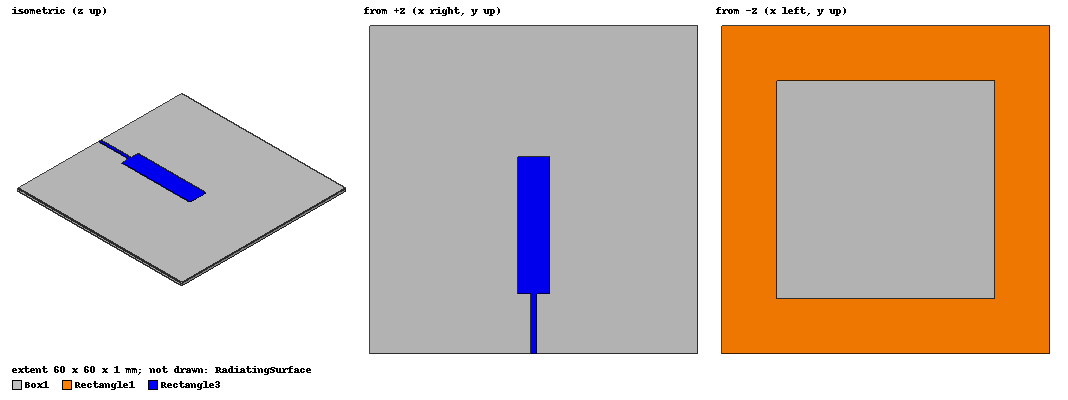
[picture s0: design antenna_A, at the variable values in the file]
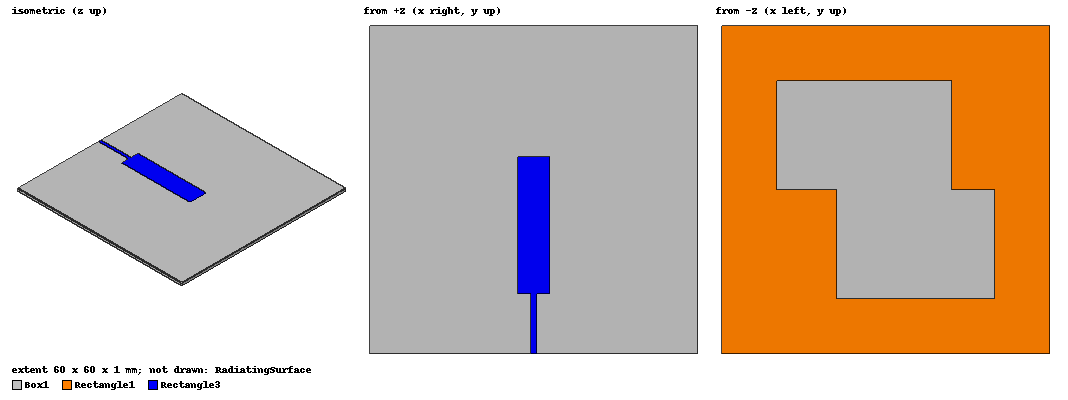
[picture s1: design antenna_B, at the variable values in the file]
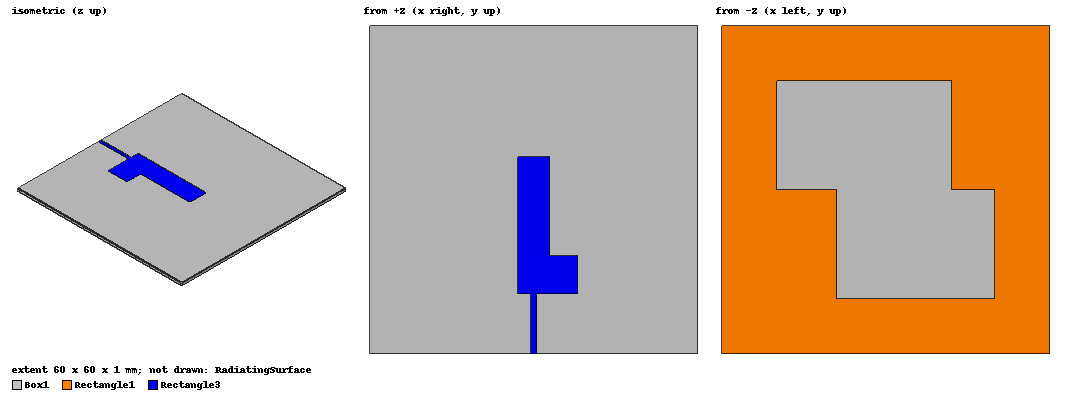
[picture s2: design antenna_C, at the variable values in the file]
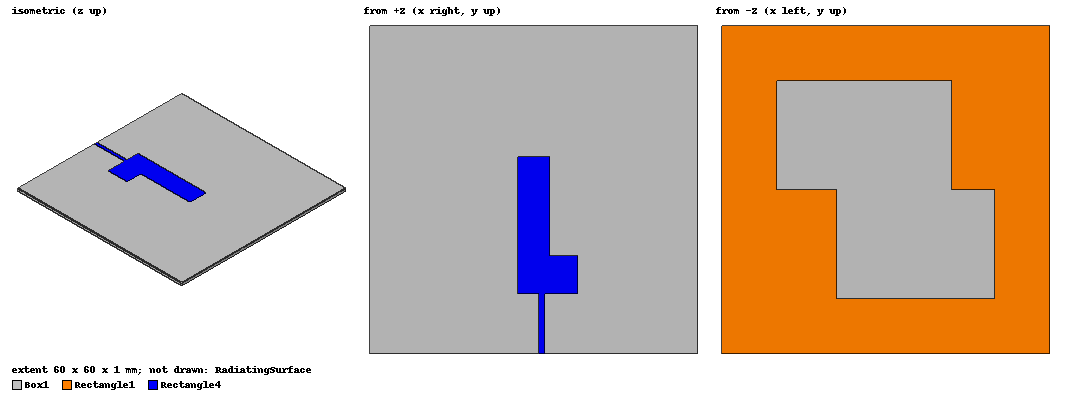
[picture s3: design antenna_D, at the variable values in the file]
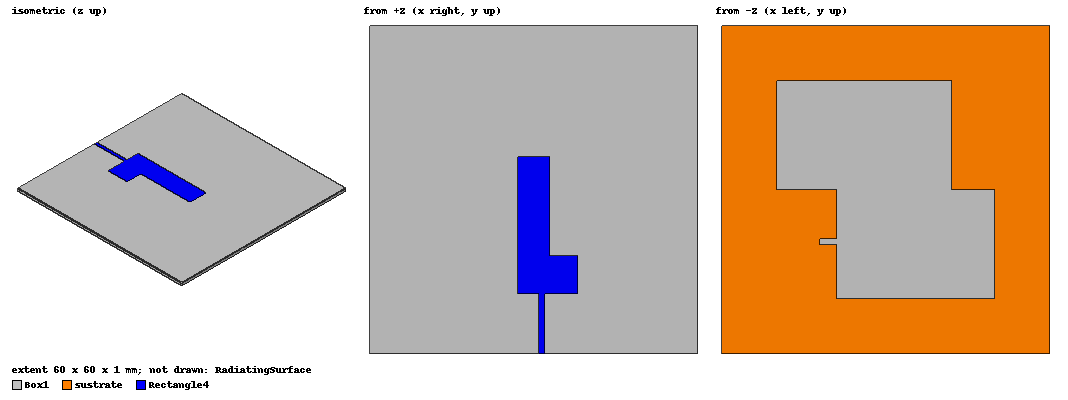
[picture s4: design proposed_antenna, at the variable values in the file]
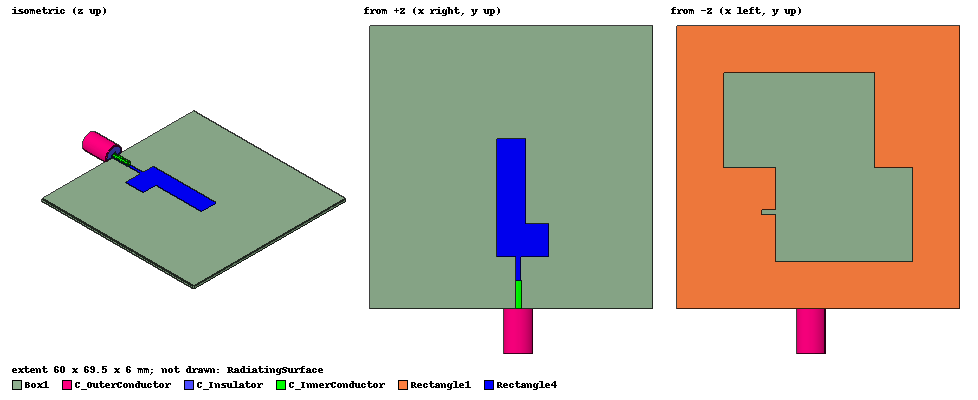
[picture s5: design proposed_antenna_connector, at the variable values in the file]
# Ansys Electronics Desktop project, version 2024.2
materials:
  vacuum: permittivity=1
  FR4_epoxy: permittivity=4.4 dielectric_loss_tangent=0.02
  pec: conductivity=1e+30
  Teflon (tm): permittivity=2.1 dielectric_loss_tangent=0.001
  copper: permeability=0.999991 conductivity=58000000

design antenna_A (HFSS, HFSS Modal Network, model units mm)
options: Calculate_Lossy_Dielectrics
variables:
  lf = -11mm
  lf1 = 11mm
  k1 = 6mm
  l1 = 25mm
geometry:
  Rectangle1 = rectangle(corner=(0mm, 0mm, 0mm), x_size=60mm, y_size=60mm)
  Rectangle2 = rectangle(corner=(10mm, 10mm, 0mm), x_size=40mm, y_size=40mm)
  Rectangle1.subtract(Rectangle2)
  Rectangle3 = rectangle(corner=(27mm, 11mm, 1mm), x_size=k1, y_size=l1)
  Rectangle4 = rectangle(corner=(29.5mm, 11mm, 1mm), x_size=1mm, y_size=-lf1)
  Box1 [FR4_epoxy] = box(corner=(0mm, 0mm, 0mm), size=(60mm, 60mm, 1mm))
  Rectangle3.unite(Rectangle4)
  Rectangle5 = rectangle(corner=(29.5mm, 0mm, 1mm), z_size=-1mm, x_size=1mm)
  RadiatingSurface [vacuum] = region(absolute_offset=37.037037mm on all sides)
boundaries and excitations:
  PerfE1: Perfect E Objects=Rectangle1
  PerfE2: Perfect E Objects=Rectangle3
  Open1: Radiation Objects=RadiatingSurface
  1: Lumped Port Objects=Rectangle5 LumpedPortType=Modal Modes{Mode1{IntLine{(30, 0, 0) -> (30, 0, 1)} CharImp=Zpi RenormImp=50ohm}} Impedance=50ohm
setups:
  Setup1: HfssDriven MultipleAdaptiveFreqsSetup{Low=0.1GHz High=12GHz} MaxDeltaS=0.02 MaximumPasses=6 MinimumPasses=1 MinimumConvergedPasses=1 PercentRefinement=30 BasisOrder=1 PortAccuracy=2 DrivenSolverType="Direct Solver"
    sweep Sweep: 0.1GHz to 12GHz, 201 points; Type=Discrete SaveFields
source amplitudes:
  1:1: 1W 0deg
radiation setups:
  3D: Infinite Sphere Theta=0deg..180deg step 2deg Phi=-180deg..180deg step 2deg
  Elevation: Infinite Sphere Theta=-180deg..180deg step 1deg Phi=0deg..90deg step 90deg
  Azimuth: Infinite Sphere Theta=90deg..90deg step 0deg Phi=-180deg..180deg step 1deg
  Infinite Sphere1: Infinite Sphere Theta=-180deg..180deg step 2deg Phi=0deg..90deg step 90deg
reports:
  S Parameter Plot 1: dB(S(1,1)) vs Freq on Setup1 : Sweep
  Axial Ratio Plot 2: dB(AxialRatioValue) vs Freq on Setup1 : Sweep, Infinite Sphere1 [Phi=90deg Theta=0deg]

design antenna_B (HFSS, HFSS Modal Network, model units mm)
options: Calculate_Lossy_Dielectrics
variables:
  s1 = 8mm
  s2 = 20mm
  k1 = 6mm
  l1 = 25mm
  lf1 = 11mm
  s3 = 11mm
  s4 = 20mm
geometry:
  Rectangle1 = rectangle(corner=(0mm, 0mm, 0mm), x_size=60mm, y_size=60mm)
  Rectangle2 = rectangle(corner=(10mm, 10mm, 0mm), x_size=40mm, y_size=40mm)
  Rectangle1.subtract(Rectangle2)
  Rectangle3 = rectangle(corner=(27mm, 11mm, 1mm), x_size=k1, y_size=l1)
  Rectangle4 = rectangle(corner=(29.5mm, 11mm, 1mm), x_size=1mm, y_size=-lf1)
  Box1 [FR4_epoxy] = box(corner=(0mm, 0mm, 0mm), size=(60mm, 60mm, 1mm))
  Rectangle3.unite(Rectangle4)
  Rectangle5 = rectangle(corner=(29.5mm, 0mm, 1mm), z_size=-1mm, x_size=1mm)
  Rectangle6 = rectangle(corner=(10mm, 50mm, 0mm), x_size=s1, y_size=-s2)
  Rectangle7 = rectangle(corner=(50mm, 10mm, 0mm), x_size=-s3, y_size=s4)
  Rectangle1.unite(Rectangle6, Rectangle7)
  RadiatingSurface [vacuum] = region(absolute_offset=37.037037mm on all sides)
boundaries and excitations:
  PerfE1: Perfect E Objects=Rectangle1
  PerfE2: Perfect E Objects=Rectangle3
  Open1: Radiation Objects=RadiatingSurface
  1: Lumped Port Objects=Rectangle5 LumpedPortType=Modal Modes{Mode1{IntLine{(30, 0, 0) -> (30, 0, 1)} CharImp=Zpi RenormImp=50ohm}} Impedance=50ohm
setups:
  Setup1: HfssDriven MultipleAdaptiveFreqsSetup{Low=0.1GHz High=12GHz} MaxDeltaS=0.02 MaximumPasses=6 MinimumPasses=1 MinimumConvergedPasses=1 PercentRefinement=30 BasisOrder=1 PortAccuracy=2 DrivenSolverType="Direct Solver"
    sweep Sweep: 0.1GHz to 12GHz, 151 points; Type=Discrete SaveFields
  Setup2: HfssDriven MultipleAdaptiveFreqsSetup{Low=0.1GHz High=12GHz} MaxDeltaS=0.02 MaximumPasses=6 MinimumPasses=1 MinimumConvergedPasses=1 PercentRefinement=30 BasisOrder=1 PortAccuracy=2 DrivenSolverType="Direct Solver"
    sweep Sweep: 0.1GHz to 12GHz, 201 points; Type=Discrete SaveFields
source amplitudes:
  1:1: 1W 0deg
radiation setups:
  3D: Infinite Sphere Theta=0deg..180deg step 2deg Phi=-180deg..180deg step 2deg
  Elevation: Infinite Sphere Theta=-180deg..180deg step 1deg Phi=0deg..90deg step 90deg
  Azimuth: Infinite Sphere Theta=90deg..90deg step 0deg Phi=-180deg..180deg step 1deg
  Infinite Sphere1: Infinite Sphere Theta=-180deg..180deg step 2deg Phi=0deg..90deg step 90deg
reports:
  S Parameter Plot 1: dB(S(1,1)) vs Freq on Setup1 : Sweep
  S Parameter Plot 2: dB(S(1,1)) vs Freq on Setup2 : Sweep
  Axial Ratio Plot 1: dB(AxialRatioValue) vs Freq on Setup2 : Sweep, Infinite Sphere1 [Phi=0deg Theta=0deg]

design antenna_C (HFSS, HFSS Modal Network, model units mm)
options: Calculate_Lossy_Dielectrics
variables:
  s1 = 8mm
  s2 = 20mm
  s3 = 11mm
  s4 = 20mm
  k1 = 6mm
  l1 = 25mm
  k2 = 7.5mm
  l2 = 7mm
  lf1 = 11mm
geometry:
  Rectangle1 = rectangle(corner=(0mm, 0mm, 0mm), x_size=60mm, y_size=60mm)
  Rectangle2 = rectangle(corner=(10mm, 10mm, 0mm), x_size=40mm, y_size=40mm)
  Rectangle1.subtract(Rectangle2)
  Rectangle3 = rectangle(corner=(27mm, 11mm, 1mm), x_size=k1, y_size=l1)
  Rectangle4 = rectangle(corner=(29.5mm, 11mm, 1mm), x_size=1mm, y_size=-lf1)
  Box1 [FR4_epoxy] = box(corner=(0mm, 0mm, 0mm), size=(60mm, 60mm, 1mm))
  Rectangle3.unite(Rectangle4)
  Rectangle5 = rectangle(corner=(29.5mm, 0mm, 1mm), z_size=-1mm, x_size=1mm)
  Rectangle6 = rectangle(corner=(10mm, 50mm, 0mm), x_size=s1, y_size=-s2)
  Rectangle7 = rectangle(corner=(50mm, 10mm, 0mm), x_size=-s3, y_size=s4)
  Rectangle1.unite(Rectangle6, Rectangle7)
  Rectangle8 = rectangle(corner=(33mm, 11mm, 1mm), x_size=k2-2.5mm, y_size=l2)
  Rectangle3.unite(Rectangle8)
  RadiatingSurface [vacuum] = region(absolute_offset=37.037037mm on all sides)
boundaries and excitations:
  PerfE1: Perfect E Objects=Rectangle1
  PerfE2: Perfect E Objects=Rectangle3
  Open1: Radiation Objects=RadiatingSurface
  1: Lumped Port Objects=Rectangle5 LumpedPortType=Modal Modes{Mode1{IntLine{(30, 0, 0) -> (30, 0, 1)} CharImp=Zpi RenormImp=50ohm}} Impedance=50ohm
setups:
  Setup1: HfssDriven MultipleAdaptiveFreqsSetup{Low=0.1GHz High=12GHz} MaxDeltaS=0.02 MaximumPasses=6 MinimumPasses=1 MinimumConvergedPasses=1 PercentRefinement=30 BasisOrder=1 PortAccuracy=2 DrivenSolverType="Direct Solver"
    sweep Sweep: 0.1GHz to 12GHz, 151 points; Type=Discrete SaveFields
  Setup2: HfssDriven MultipleAdaptiveFreqsSetup{Low=0.1GHz High=12GHz} MaxDeltaS=0.02 MaximumPasses=6 MinimumPasses=1 MinimumConvergedPasses=1 PercentRefinement=30 BasisOrder=1 PortAccuracy=2 DrivenSolverType="Direct Solver"
    sweep Sweep: 0.1GHz to 12GHz, 201 points; Type=Discrete SaveFields
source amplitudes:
  1:1: 1W 0deg
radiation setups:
  3D: Infinite Sphere Theta=0deg..180deg step 2deg Phi=-180deg..180deg step 2deg
  Elevation: Infinite Sphere Theta=-180deg..180deg step 1deg Phi=0deg..90deg step 90deg
  Azimuth: Infinite Sphere Theta=90deg..90deg step 0deg Phi=-180deg..180deg step 1deg
  Infinite Sphere1: Infinite Sphere Theta=-180deg..180deg step 2deg Phi=0deg..90deg step 90deg
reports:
  S Parameter Plot 1: dB(S(1,1)) vs Freq on Setup1 : Sweep
  S Parameter Plot 2: dB(S(1,1)) vs Freq on Setup2 : Sweep
  Gain Plot 1: GainTotal vs Freq on Setup2 : Sweep, Infinite Sphere1 [Phi=0deg Theta=0deg]
  Axial Ratio Plot 1: dB(AxialRatioValue) vs Freq on Setup2 : Sweep, Infinite Sphere1 [Phi=0deg Theta=0deg]

design antenna_D (HFSS, HFSS Modal Network, model units mm)
options: Calculate_Lossy_Dielectrics
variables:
  s1 = 8mm
  s2 = 20mm
  s3 = 11mm
  s4 = 20mm
  lf1 = 11mm
  k1 = 6mm
  l1 = 25mm
  k2 = 7.5mm
  l2 = 7mm
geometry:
  Rectangle1 = rectangle(corner=(0mm, 0mm, 0mm), x_size=60mm, y_size=60mm)
  Rectangle2 = rectangle(corner=(10mm, 10mm, 0mm), x_size=40mm, y_size=40mm)
  Rectangle1.subtract(Rectangle2)
  Rectangle6 = rectangle(corner=(10mm, 50mm, 0mm), x_size=s1, y_size=-s2)
  Rectangle7 = rectangle(corner=(50mm, 10mm, 0mm), x_size=-s3, y_size=s4)
  Rectangle1.unite(Rectangle6, Rectangle7)
  Rectangle3 = rectangle(corner=(27mm, 11mm, 1mm), x_size=k1, y_size=l1)
  Box1 [FR4_epoxy] = box(corner=(0mm, 0mm, 0mm), size=(60mm, 60mm, 1mm))
  Rectangle5 = rectangle(corner=(31mm, 0mm, 1mm), z_size=-1mm, x_size=1mm)
  Rectangle4 = rectangle(corner=(31mm, 11mm, 1mm), x_size=1mm, y_size=-lf1)
  Rectangle8 = rectangle(corner=(33mm, 11mm, 1mm), x_size=k2-2.5mm, y_size=l2)
  Rectangle4.unite(Rectangle3, Rectangle8)
  RadiatingSurface [vacuum] = region(absolute_offset=37.037037mm on all sides)
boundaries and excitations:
  PerfE1: Perfect E Objects=Rectangle1
  PerfE2: Perfect E Objects=Rectangle4
  Open1: Radiation Objects=RadiatingSurface
  1: Lumped Port Objects=Rectangle5 LumpedPortType=Modal Modes{Mode1{IntLine{(31.5, 0, 0) -> (31.5, 0, 1)} CharImp=Zpi RenormImp=50ohm}} Impedance=50ohm
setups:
  Setup1: HfssDriven MultipleAdaptiveFreqsSetup{Low=0.1GHz High=12GHz} MaxDeltaS=0.02 MaximumPasses=6 MinimumPasses=1 MinimumConvergedPasses=1 PercentRefinement=30 BasisOrder=1 PortAccuracy=2 DrivenSolverType="Direct Solver"
    sweep Sweep: 0.1GHz to 12GHz, 151 points; Type=Discrete SaveFields
  Setup2: HfssDriven MultipleAdaptiveFreqsSetup{Low=0.1GHz High=12GHz} MaxDeltaS=0.02 MaximumPasses=6 MinimumPasses=1 MinimumConvergedPasses=1 PercentRefinement=30 BasisOrder=1 PortAccuracy=2 DrivenSolverType="Direct Solver"
    sweep Sweep: 0.1GHz to 12GHz, 201 points; Type=Discrete SaveFields
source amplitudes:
  1:1: 1W 0deg
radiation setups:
  3D: Infinite Sphere Theta=0deg..180deg step 2deg Phi=-180deg..180deg step 2deg
  Elevation: Infinite Sphere Theta=-180deg..180deg step 1deg Phi=0deg..90deg step 90deg
  Azimuth: Infinite Sphere Theta=90deg..90deg step 0deg Phi=-180deg..180deg step 1deg
  Infinite Sphere1: Infinite Sphere Theta=-180deg..180deg step 2deg Phi=0deg..90deg step 90deg
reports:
  S Parameter Plot 1: dB(S(1,1)) vs Freq on Setup1 : Sweep
  S Parameter Plot 2: dB(S(1,1)) vs Freq on Setup1 : Sweep
  S Parameter Plot 3: dB(S(1,1)) vs Freq on Setup2 : Sweep
  Axial Ratio Plot 1: dB(AxialRatioValue) vs Freq on Setup2 : Sweep, Infinite Sphere1 [Phi=0deg Theta=0deg]

design proposed_antenna (HFSS, HFSS Modal Network, model units mm)
options: Calculate_Lossy_Dielectrics
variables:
  lf1 = 11mm
  k1 = 6mm
  l1 = 25mm
  k2 = 7.5mm
  l2 = 7mm
  s1 = 8mm
  s2 = 20mm
  s3 = 11mm
  s4 = 20mm
  g2 = 3mm
  g1 = 1mm
  k3 = 1mm
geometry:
  sustrate = rectangle(corner=(0mm, 0mm, 0mm), x_size=60mm, y_size=60mm)
  Rectangle2 = rectangle(corner=(10mm, 10mm, 0mm), x_size=40mm, y_size=40mm)
  sustrate.subtract(Rectangle2)
  Rectangle6 = rectangle(corner=(10mm, 50mm, 0mm), x_size=s1, y_size=-s2)
  Rectangle7 = rectangle(corner=(50mm, 10mm, 0mm), x_size=-s3, y_size=s4)
  sustrate.unite(Rectangle6, Rectangle7)
  Box1 [FR4_epoxy] = box(corner=(0mm, 0mm, 0mm), size=(60mm, 60mm, 1mm))
  Rectangle5 = rectangle(corner=(31mm, 0mm, 1mm), z_size=-1mm, x_size=1mm)
  Rectangle4 = rectangle(corner=(31mm, 11mm, 1mm), x_size=k3, y_size=-lf1)
  Rectangle3 = rectangle(corner=(27mm, 11mm, 1mm), x_size=k1, y_size=l1)
  Rectangle8 = rectangle(corner=(33mm, 11mm, 1mm), x_size=k2-2.5mm, y_size=l2)
  Rectangle4.unite(Rectangle3, Rectangle8)
  Rectangle9 = rectangle(corner=((50-11) mm, 20mm, 0mm), x_size=g2, y_size=g1)
  sustrate.subtract(Rectangle9)
  RadiatingSurface [vacuum] = region(absolute_offset=37.037037mm on all sides)
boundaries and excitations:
  PerfE1: Perfect E Objects=sustrate
  PerfE2: Perfect E Objects=Rectangle4
  Open1: Radiation Objects=RadiatingSurface
  1: Lumped Port Objects=Rectangle5 LumpedPortType=Modal Modes{Mode1{IntLine{(31.5, 0, 0) -> (31.5, 0, 1)} CharImp=Zpi RenormImp=50ohm}} Impedance=50ohm
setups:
  Setup2: HfssDriven MultipleAdaptiveFreqsSetup{Low=0.1GHz High=12GHz} MaxDeltaS=0.02 MaximumPasses=6 MinimumPasses=1 MinimumConvergedPasses=1 PercentRefinement=30 BasisOrder=1 PortAccuracy=2 DrivenSolverType="Direct Solver"
    sweep Sweep: 0.1GHz to 12GHz, 151 points; Type=Discrete SaveFields
  Setup3: HfssDriven MultipleAdaptiveFreqsSetup{Low=0.1GHz High=12GHz} MaxDeltaS=0.02 MaximumPasses=6 MinimumPasses=1 MinimumConvergedPasses=1 PercentRefinement=30 BasisOrder=1 PortAccuracy=2 DrivenSolverType="Direct Solver"
    sweep Sweep: 0.1GHz to 12GHz, 101 points; Type=Discrete SaveFields
  Setup4: HfssDriven MultipleAdaptiveFreqsSetup{Low=0.1GHz High=12GHz} MaxDeltaS=0.02 MaximumPasses=6 MinimumPasses=1 MinimumConvergedPasses=1 PercentRefinement=30 BasisOrder=1 PortAccuracy=2 DrivenSolverType="Direct Solver"
    sweep Sweep: 0.1GHz to 12GHz, 201 points; Type=Discrete SaveFields
  Setup5: HfssDriven MultipleAdaptiveFreqsSetup{Low=0.1GHz High=12GHz} MaxDeltaS=0.02 MaximumPasses=6 MinimumPasses=1 MinimumConvergedPasses=1 PercentRefinement=30 BasisOrder=1 PortAccuracy=2 DrivenSolverType="Direct Solver"
    sweep Sweep: 0.1GHz to 12GHz, 151 points; Type=Discrete SaveFields
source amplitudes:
  1:1: 1W 0deg
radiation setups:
  3D: Infinite Sphere Theta=0deg..180deg step 2deg Phi=-180deg..180deg step 2deg
  Elevation: Infinite Sphere Theta=-180deg..180deg step 1deg Phi=0deg..90deg step 90deg
  Azimuth: Infinite Sphere Theta=90deg..90deg step 0deg Phi=-180deg..180deg step 1deg
  Infinite Sphere1: Infinite Sphere Theta=-180deg..180deg step 2deg Phi=0deg..90deg step 90deg
  Infinite Sphere2: Infinite Sphere Theta=-180deg..180deg step 2deg Phi=0deg..90deg step 90deg
  Infinite Sphere3: Infinite Sphere Theta=-180deg..180deg step 2deg Phi=0deg..360deg step 90deg
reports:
  all_antenna_s11: dB(S(1,1)), dB(S(1,1)), dB(S(1,1)), dB(S(1,1)), dB(S(1,1)) vs Freq
  all_antenna_AR: dB(AxialRatioValue), dB(AxialRatioValue), dB(AxialRatioValue), dB(AxialRatioValue) vs Freq
  xz_plane_2.7: dB(GainLHCP), dB(GainRHCP) vs Theta on Setup4 : Sweep, Infinite Sphere2 [Phi=0deg Freq=2.718GHz]
  xz_plane_6: dB(GainLHCP), dB(GainRHCP) vs Theta on Setup4 : Sweep, Infinite Sphere2 [Phi=0deg Freq=6.05GHz]
  xz_plane_8.5: dB(GainLHCP), dB(GainRHCP) vs Theta on Setup4 : Sweep, Infinite Sphere2 [Phi=0deg Freq=8.549GHz]
  yz_plane_2.7: dB(GainLHCP), dB(GainRHCP) vs Theta on Setup4 : Sweep, Infinite Sphere3 [Phi=180deg Freq=2.718GHz]
  yz_plane_6: dB(GainLHCP), dB(GainRHCP) vs Theta on Setup4 : Sweep, Infinite Sphere3 [Phi=180deg Freq=6.05GHz]
  yz_plane_8: dB(GainLHCP), dB(GainRHCP) vs Theta on Setup4 : Sweep, Infinite Sphere3 [Phi=180deg Freq=8.549GHz]

design proposed_antenna_connector (HFSS, HFSS Modal Network, model units mm)
options: Calculate_Lossy_Dielectrics
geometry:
  Rectangle1 = rectangle(corner=(0mm, 0mm, 0mm), x_size=60mm, y_size=60mm)
  Rectangle2 = rectangle(corner=(10mm, 10mm, 0mm), x_size=40mm, y_size=40mm)
  Rectangle1.subtract(Rectangle2)
  Rectangle6 = rectangle(corner=(10mm, 50mm, 0mm), x_size=8mm, y_size=-20mm)
  Rectangle7 = rectangle(corner=(50mm, 10mm, 0mm), x_size=-11mm, y_size=20mm)
  Rectangle1.unite(Rectangle6, Rectangle7)
  Box1 [FR4_epoxy] = box(corner=(0mm, 0mm, 0mm), size=(60mm, 60mm, 1mm))
  Rectangle5 = rectangle(corner=(31mm, 0mm, 1mm), z_size=-1mm, x_size=1mm)
  Rectangle4 = rectangle(corner=(31mm, 11mm, 1mm), x_size=1mm, y_size=-11mm)
  Rectangle3 = rectangle(corner=(27mm, 11mm, 1mm), x_size=6mm, y_size=25mm)
  Rectangle8 = rectangle(corner=(33mm, 11mm, 1mm), x_size=5mm, y_size=7mm)
  Rectangle4.unite(Rectangle3, Rectangle8)
  Rectangle9 = rectangle(corner=((50-11) mm, 20mm, 0mm), x_size=3mm, y_size=1mm)
  Rectangle1.subtract(Rectangle9)
  RadiatingSurface [vacuum] = region(absolute_offset=20mm on all sides)
  C_OuterConductor [copper] = cylinder(axis=Y, base_centre=(0mm, -22mm, 2.235mm), radius=(6/2) mm, height=9.5mm)
  Cylinder4 = cylinder(axis=Y, base_centre=(0mm, -22mm, 2.235mm), radius=(5.4/2) mm, height=9.5mm)
  C_OuterConductor.subtract(Cylinder4)
  C_Insulator [Teflon (tm)] = cylinder(axis=Y, base_centre=(0mm, -22mm, 2.235mm), radius=(5.4/2) mm, height=9.5mm)
  Cylinder5 = cylinder(axis=Y, base_centre=(0mm, -22mm, 2.235mm), radius=(1.27/2) mm, height=9.5mm)
  C_Insulator.subtract(Cylinder5)
  C_InnerConductor [copper] = cylinder(axis=Y, base_centre=(0mm, -22mm, 2.235mm), radius=(1.27/2) mm, height=(9.5+5+1) mm)
  [C_OuterConductor, C_Insulator, C_InnerConductor].move(31.5mm, 13.5mm, -0.1mm)
  [C_OuterConductor, C_Insulator, C_InnerConductor].move(0mm, -1mm, 1.865mm)
  [C_InnerConductor, C_OuterConductor, C_Insulator].move(0mm, -6mm, -2.065mm)
  [C_InnerConductor, C_OuterConductor, C_Insulator].move(0mm, 6mm, 2.365mm)
  [C_InnerConductor, C_OuterConductor, C_Insulator].move(0mm, 0mm, -1.665mm)
  [C_OuterConductor, C_InnerConductor, C_Insulator].move(0mm, 0mm, -1mm)
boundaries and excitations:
  PerfE1: Perfect E Objects=Rectangle1
  PerfE2: Perfect E Objects=Rectangle4
  Open1: Radiation Objects=RadiatingSurface
  1: Lumped Port Objects=Rectangle5 LumpedPortType=Modal Modes{Mode1{IntLine{(31.5, 0, 0) -> (31.5, 0, 1)} CharImp=Zpi RenormImp=50ohm}} Impedance=50ohm
  2: Lumped Port Faces=C_Insulator.face(-y end) LumpedPortType=Modal Modes{Mode1{IntLine{(31.5, -9.5, 2.27) -> (31.5, -9.5, 4.335)} CharImp=Zpi RenormImp=50ohm}} Impedance=50ohm
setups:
  Setup1: HfssDriven MultipleAdaptiveFreqsSetup{Low=0.1GHz High=12GHz} MaxDeltaS=0.02 MaximumPasses=6 MinimumPasses=1 MinimumConvergedPasses=1 PercentRefinement=30 BasisOrder=1 PortAccuracy=2 DrivenSolverType="Direct Solver"
    sweep Sweep: 0.1GHz to 12GHz, 51 points; Type=Discrete SaveFields
  Setup2: HfssDriven MultipleAdaptiveFreqsSetup{Low=0.1GHz High=12GHz} MaxDeltaS=0.02 MaximumPasses=6 MinimumPasses=1 MinimumConvergedPasses=1 PercentRefinement=30 BasisOrder=1 PortAccuracy=2 DrivenSolverType="Direct Solver"
    sweep Sweep: 0.1GHz to 12GHz, 151 points; Type=Discrete SaveFields
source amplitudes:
  1:1, 2:1: 1W 0deg
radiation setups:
  3D: Infinite Sphere Theta=0deg..180deg step 2deg Phi=-180deg..180deg step 2deg
  Elevation: Infinite Sphere Theta=-180deg..180deg step 1deg Phi=0deg..90deg step 90deg
  Azimuth: Infinite Sphere Theta=90deg..90deg step 0deg Phi=-180deg..180deg step 1deg
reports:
  S Parameter Plot 1: dB(S(1,1)) vs Freq on Setup1 : Sweep
  S Parameter Plot 2: dB(S(1,1)) vs Freq on Setup1 : Sweep
